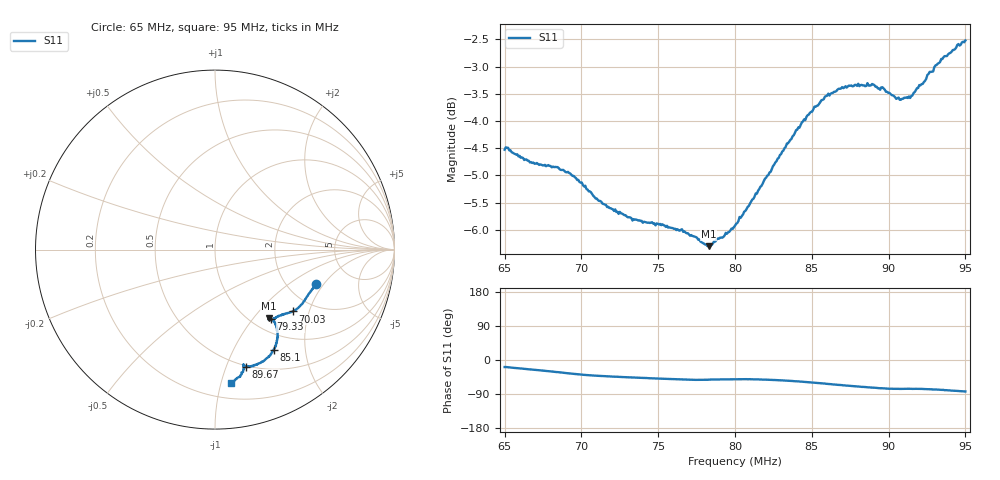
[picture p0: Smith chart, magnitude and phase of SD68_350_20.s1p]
! NanoVNA-App
! Date: 2025-08-09 12:57:43
! Start: 65MHz Stop: 95MHz Points: 401
! S-Parameter data: F S11
# Hz S RI R 50
!  Frequency  S11_Real  S11_Imag
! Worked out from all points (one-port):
!   401 points, 65 MHz to 95 MHz, reference 50 ohm
!   lowest |S11| = -6.3 dB at 78.28 MHz (marker M1), VSWR 2.88, Z = 60.2 - j59.9 ohm
!   |S11| at or under -10 dB: nowhere
!   S11 on the Smith chart (normalised r, x): 65 MHz: 2.85, -1.67; 70.03 MHz: 1.58, -1.57; 79.33 MHz: 1.21, -1.24; 85.1 MHz: 0.76, -1.46; 89.67 MHz: 0.49, -1.18; 95 MHz: 0.32, -1.08
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6.5e7  0.5628 -0.1892
6.5225e7  0.5636 -0.1947
6.68e7  0.5217 -0.2474
6.8e7  0.4969 -0.2866
6.875e7  0.4761 -0.3115
6.935e7  0.4547 -0.332
7.0025e7  0.4337 -0.3446
7.1e7  0.4015 -0.3545
7.25e7  0.3701 -0.3662
7.625e7  0.3161 -0.3899
7.7375e7  0.3022 -0.3907
7.8275e7  0.2992 -0.3808
7.9325e7  0.3114 -0.3851
8e7  0.3213 -0.3906
8.1575e7  0.3416 -0.4264
8.285e7  0.3485 -0.4682
8.375e7  0.3474 -0.5024
8.51e7  0.3264 -0.5583
8.6e7  0.3025 -0.5929
8.75e7  0.2514 -0.6315
8.8775e7  0.2074 -0.6475
8.9675e7  0.1739 -0.6531
8.9975e7  0.1658 -0.6489
9.0425e7  0.1612 -0.6436
9.125e7  0.1608 -0.6425
9.215e7  0.1624 -0.6625
9.3125e7  0.1478 -0.6947
9.5e7  0.0899 -0.7426
